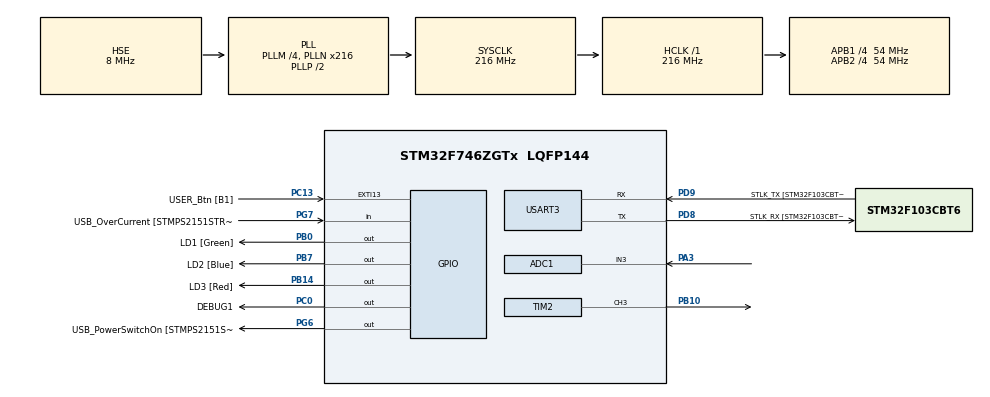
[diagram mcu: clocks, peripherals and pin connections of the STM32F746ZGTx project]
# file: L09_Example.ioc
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ADC1.Channel-0\#ChannelRegularConversion=ADC_CHANNEL_3
ADC1.NbrOfConversionFlag=1
ADC1.Rank-0\#ChannelRegularConversion=1
ADC1.SamplingTime-0\#ChannelRegularConversion=ADC_SAMPLETIME_480CYCLES
ADC1.master=1
Mcu.Family=STM32F7
Mcu.Name=STM32F746ZGTx
Mcu.Package=LQFP144
NVIC.ADC_IRQn=true\:0\:0\:false\:false\:true\:true\:true\:true
NVIC.PriorityGroup=NVIC_PRIORITYGROUP_4
NVIC.TIM2_IRQn=true\:0\:0\:false\:false\:true\:true\:true\:true
NVIC.USART3_IRQn=true\:0\:0\:false\:false\:true\:true\:true\:true
PA1.GPIO_Label=RMII_REF_CLK [LAN8742A-CZ-TR_REFCLK0]
PA1.Signal=ETH_REF_CLK
PA10.GPIO_Label=USB_ID
PA10.Signal=USB_OTG_FS_ID
PA11.GPIO_Label=USB_DM
PA11.Signal=USB_OTG_FS_DM
PA12.GPIO_Label=USB_DP
PA12.Signal=USB_OTG_FS_DP
PA13.GPIO_Label=TMS
PA13.Mode=Serial_Wire
PA13.Signal=SYS_JTMS-SWDIO
PA14.GPIO_Label=TCK
PA14.Mode=Serial_Wire
PA14.Signal=SYS_JTCK-SWCLK
PA2.GPIO_Label=RMII_MDIO [LAN8742A-CZ-TR_MDIO]
PA2.Signal=ETH_MDIO
PA3.Signal=ADCx_IN3
PA7.GPIO_Label=RMII_CRS_DV [LAN8742A-CZ-TR_CRS_DV]
PA7.Signal=ETH_CRS_DV
PA8.GPIO_Label=USB_SOF [TP1]
PA8.Signal=USB_OTG_FS_SOF
PA9.GPIO_Label=USB_VBUS
PA9.Signal=USB_OTG_FS_VBUS
PB0.GPIO_Label=LD1 [Green]
PB0.Signal=GPIO_Output
PB10.Signal=S_TIM2_CH3
PB13.GPIO_Label=RMII_TXD1 [LAN8742A-CZ-TR_TXD1]
PB13.Signal=ETH_TXD1
PB14.GPIO_Label=LD3 [Red]
PB14.Signal=GPIO_Output
PB3.GPIO_Label=SW0
PB3.Signal=SYS_JTDO-SWO
PB7.GPIO_Label=LD2 [Blue]
PB7.Signal=GPIO_Output
PC0.GPIO_Label=DEBUG1
PC0.GPIO_Speed=GPIO_SPEED_FREQ_VERY_HIGH
PC0.Signal=GPIO_Output
PC1.GPIO_Label=RMII_MDC [LAN8742A-CZ-TR_MDC]
PC1.Signal=ETH_MDC
PC13.GPIO_Label=USER_Btn [B1]
PC13.Signal=GPXTI13
PC14/OSC32_IN.Mode=LSE-External-Oscillator
PC14/OSC32_IN.Signal=RCC_OSC32_IN
PC15/OSC32_OUT.Mode=LSE-External-Oscillator
PC15/OSC32_OUT.Signal=RCC_OSC32_OUT
PC4.GPIO_Label=RMII_RXD0 [LAN8742A-CZ-TR_RXD0]
PC4.Signal=ETH_RXD0
PC5.GPIO_Label=RMII_RXD1 [LAN8742A-CZ-TR_RXD1]
PC5.Signal=ETH_RXD1
PD8.GPIO_Label=STLK_RX [STM32F103CBT6_PA3]
PD8.GPIO_PuPd=GPIO_PULLUP
PD8.Mode=Asynchronous
PD8.Signal=USART3_TX
PD9.GPIO_Label=STLK_TX [STM32F103CBT6_PA2]
PD9.GPIO_PuPd=GPIO_PULLUP
PD9.Mode=Asynchronous
PD9.Signal=USART3_RX
PG11.GPIO_Label=RMII_TX_EN [LAN8742A-CZ-TR_TXEN]
PG11.Signal=ETH_TX_EN
PG13.GPIO_Label=RMII_TXD0 [LAN8742A-CZ-TR_TXD0]
PG13.Signal=ETH_TXD0
PG6.GPIO_Label=USB_PowerSwitchOn [STMPS2151STR_EN]
PG6.Signal=GPIO_Output
PG7.GPIO_Label=USB_OverCurrent [STMPS2151STR_FAULT]
PG7.Signal=GPIO_Input
PH0/OSC_IN.GPIO_Label=MCO [STM32F103CBT6_PA8]
PH0/OSC_IN.Mode=HSE-External-Clock-Source
PH0/OSC_IN.Signal=RCC_OSC_IN
PH1/OSC_OUT.Mode=HSE-External-Clock-Source
PH1/OSC_OUT.Signal=RCC_OSC_OUT
ProjectManager.HeapSize=0x200
ProjectManager.StackSize=0x400
ProjectManager.TargetToolchain=STM32CubeIDE
RCC.48MHZClocksFreq_Value=24000000
RCC.AHBFreq_Value=216000000
RCC.APB1CLKDivider=RCC_HCLK_DIV4
RCC.APB1Freq_Value=54000000
RCC.APB1TimFreq_Value=108000000
RCC.APB2CLKDivider=RCC_HCLK_DIV4
RCC.APB2Freq_Value=54000000
RCC.APB2TimFreq_Value=108000000
RCC.CortexFreq_Value=216000000
RCC.HCLKFreq_Value=216000000
RCC.HSE_VALUE=8000000
RCC.HSI_VALUE=16000000
RCC.PLLM=4
RCC.PLLMUL=RCC_PLL_MUL9
RCC.PLLN=216
RCC.PLLQ=3
RCC.PLLSourceVirtual=RCC_PLLSOURCE_HSE
RCC.PRESCALERUSB=RCC_USBCLKSOURCE_PLL_DIV1_5
RCC.SYSCLKFreq_VALUE=216000000
RCC.SYSCLKSource=RCC_SYSCLKSOURCE_PLLCLK
RCC.SYSCLKSourceVirtual=RCC_SYSCLKSOURCE_PLLCLK
RCC.USBFreq_Value=144000000
RCC.VCOOutputFreq_Value=432000000
SH.ADCx_IN3.0=ADC1_IN3,IN3
SH.S_TIM2_CH3.0=TIM2_CH3,PWM Generation3 CH3
TIM2.Channel-PWM\ Generation3\ CH3=TIM_CHANNEL_3
TIM2.OCPolarity_3=TIM_OCPOLARITY_LOW
TIM2.Period=1000-1
TIM2.Prescaler=(108/9)-1
TIM2.Pulse-PWM\ Generation3\ CH3=500
USART3.VirtualMode-Asynchronous=VM_ASYNC
board=NUCLEO-F746ZG

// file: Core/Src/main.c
/* USER CODE BEGIN Header */
/**
  ******************************************************************************
  * @file           : main.c
  * @brief          : Main program body
  ******************************************************************************
  * @attention
  *
  * <h2><center>&copy; Copyright (c) 2021 STMicroelectronics.
  * All rights reserved.</center></h2>
  *
  * This software component is licensed by ST under BSD 3-Clause license,
  * the "License"; You may not use this file except in compliance with the
  * License. You may obtain a copy of the License at:
  *                        opensource.org/licenses/BSD-3-Clause
  *
  ******************************************************************************
  */
/* USER CODE END Header */
#include "main.h"
#include "adc.h"
#include "tim.h"
#include "usart.h"
#include "gpio.h"

/* USER CODE BEGIN Includes */
#include <stdio.h>
#include <string.h>
#include "pid_controller_config.h"
#include "led_config.h"
#include "aio.h"
/* USER CODE END Includes */

/* USER CODE BEGIN PTD */
typedef struct {
  float measurement;
  float reference;
  float control;
} SWV_TypeDef;
/* USER CODE END PTD */

/* USER CODE BEGIN PD */
//#define CLOSED_LOOP
/* USER CODE END PD */

/* USER CODE BEGIN PV */
uint8_t rx_buffer[32];
uint16_t msg_len;

float duty = 50.0f;              // [%]
float current = 0.0f;            // [mA]
float current_ref = 10.0f;       // [mA]
const float resistance = 100.0f; // [Ohm]

SWV_TypeDef swv;

/* USER CODE END PV */

void SystemClock_Config(void);

/* USER CODE BEGIN 0 */
/**
  * @brief  Rx Transfer completed callback.
  * @param  huart UART handle.
  * @retval None
  */
void HAL_UART_RxCpltCallback(UART_HandleTypeDef *huart)
{
  if(huart == &huart3)
  {
    if(rx_buffer[0] == 'R')
    {
#ifdef CLOSED_LOOP
      sscanf((char*)&rx_buffer[1], "%f", &current_ref);
#else
      sscanf((char*)&rx_buffer[1], "%f", &duty);
      LED_PWM_WriteDuty(&hld1, duty);
#endif
    }
    else
    {
      uint8_t tx_buffer[64];
      // TODO: add physical units!
      int resp_len = sprintf((char*)tx_buffer, "{ \"I1\":%f, \"I1REF\":%f, \"D1\":%f }\r", current, current_ref, duty);
      HAL_UART_Transmit(&huart3, tx_buffer, resp_len, 10);
    }
    HAL_UART_Receive_IT(&huart3, rx_buffer, msg_len);
  }
}

/**
  * @brief  Period elapsed callback in non-blocking mode
  * @param  htim TIM handle
  * @retval None
  */
void HAL_TIM_PeriodElapsedCallback(TIM_HandleTypeDef *htim)
{
  if(htim == hld1.Output.Timer)
  {
    HAL_GPIO_WritePin(DEBUG1_GPIO_Port, DEBUG1_Pin, GPIO_PIN_SET);
    HAL_ADC_Start_IT(&hadc1);
  }
}

/**
  * @brief  Regular conversion complete callback in non blocking mode
  * @param  hadc pointer to a ADC_HandleTypeDef structure that contains
  *         the configuration information for the specified ADC.
  * @retval None
  */
void HAL_ADC_ConvCpltCallback(ADC_HandleTypeDef* hadc)
{
  if(hadc == &hadc1)
  {
    float voltage = ADC_REG2VOLTAGE(HAL_ADC_GetValue(hadc)); // [mV]
    // Ohm's law
    current = voltage / resistance;                          // [mA]

#ifdef CLOSED_LOOP
    duty = PID_GetOutput(&hpid1, current_ref, current);  // [%]
    LED_PWM_WriteDuty(&hld1, duty);
#endif

    HAL_GPIO_WritePin(DEBUG1_GPIO_Port, DEBUG1_Pin, GPIO_PIN_RESET);
  }
}

/* USER CODE END 0 */

int main(void)
{
  /* USER CODE BEGIN 1 */
  swv.measurement = 0.0f;
  swv.reference = 0.0f;
  swv.control = 0.0f;
  /* USER CODE END 1 */

  /* MCU Configuration--------------------------------------------------------*/

  /* Reset of all peripherals, Initializes the Flash interface and the Systick. */
  HAL_Init();

  /* Configure the system clock */
  SystemClock_Config();

  /* Initialize all configured peripherals */
  MX_GPIO_Init();
  MX_USART3_UART_Init();
  MX_TIM2_Init();
  MX_ADC1_Init();
  /* USER CODE BEGIN 2 */
  PID_Init(&hpid1);
  LED_PWM_Init(&hld1);
  HAL_TIM_Base_Start_IT(hld1.Output.Timer);

#ifdef CLOSED_LOOP
  msg_len = strlen("R00.0mA\r");
#else
  msg_len = strlen("R000.0%\r");
#endif

  HAL_UART_Receive_IT(&huart3, rx_buffer, msg_len);

  swv.measurement = 12.0f;
  swv.reference = 12.0f;
  swv.control = 100.0f;
  /* USER CODE END 2 */

  /* Infinite loop */
  /* USER CODE BEGIN WHILE */
  while (1)
  {
    swv.measurement = current;
    swv.reference = current_ref;
    swv.control = duty;
    /* USER CODE END WHILE */

    /* USER CODE BEGIN 3 */
    HAL_Delay(0);
  }
  /* USER CODE END 3 */
}

void SystemClock_Config(void)
{
  RCC_OscInitTypeDef RCC_OscInitStruct = {0};
  RCC_ClkInitTypeDef RCC_ClkInitStruct = {0};

  /** Configure LSE Drive Capability
  */
  HAL_PWR_EnableBkUpAccess();

  /** Configure the main internal regulator output voltage
  */
  __HAL_RCC_PWR_CLK_ENABLE();
  __HAL_PWR_VOLTAGESCALING_CONFIG(PWR_REGULATOR_VOLTAGE_SCALE1);

  /** Initializes the RCC Oscillators according to the specified parameters
  * in the RCC_OscInitTypeDef structure.
  */
  RCC_OscInitStruct.OscillatorType = RCC_OSCILLATORTYPE_HSE;
  RCC_OscInitStruct.HSEState = RCC_HSE_BYPASS;
  RCC_OscInitStruct.PLL.PLLState = RCC_PLL_ON;
  RCC_OscInitStruct.PLL.PLLSource = RCC_PLLSOURCE_HSE;
  RCC_OscInitStruct.PLL.PLLM = 4;
  RCC_OscInitStruct.PLL.PLLN = 216;
  RCC_OscInitStruct.PLL.PLLP = RCC_PLLP_DIV2;
  RCC_OscInitStruct.PLL.PLLQ = 3;
  if (HAL_RCC_OscConfig(&RCC_OscInitStruct) != HAL_OK)
  {
    Error_Handler();
  }

  /** Activate the Over-Drive mode
  */
  if (HAL_PWREx_EnableOverDrive() != HAL_OK)
  {
    Error_Handler();
  }

  /** Initializes the CPU, AHB and APB buses clocks
  */
  RCC_ClkInitStruct.ClockType = RCC_CLOCKTYPE_HCLK|RCC_CLOCKTYPE_SYSCLK
                              |RCC_CLOCKTYPE_PCLK1|RCC_CLOCKTYPE_PCLK2;
  RCC_ClkInitStruct.SYSCLKSource = RCC_SYSCLKSOURCE_PLLCLK;
  RCC_ClkInitStruct.AHBCLKDivider = RCC_SYSCLK_DIV1;
  RCC_ClkInitStruct.APB1CLKDivider = RCC_HCLK_DIV4;
  RCC_ClkInitStruct.APB2CLKDivider = RCC_HCLK_DIV4;

  if (HAL_RCC_ClockConfig(&RCC_ClkInitStruct, FLASH_LATENCY_7) != HAL_OK)
  {
    Error_Handler();
  }
}

void Error_Handler(void)
{
  __disable_irq();
  while (1)
  {
  }
}
